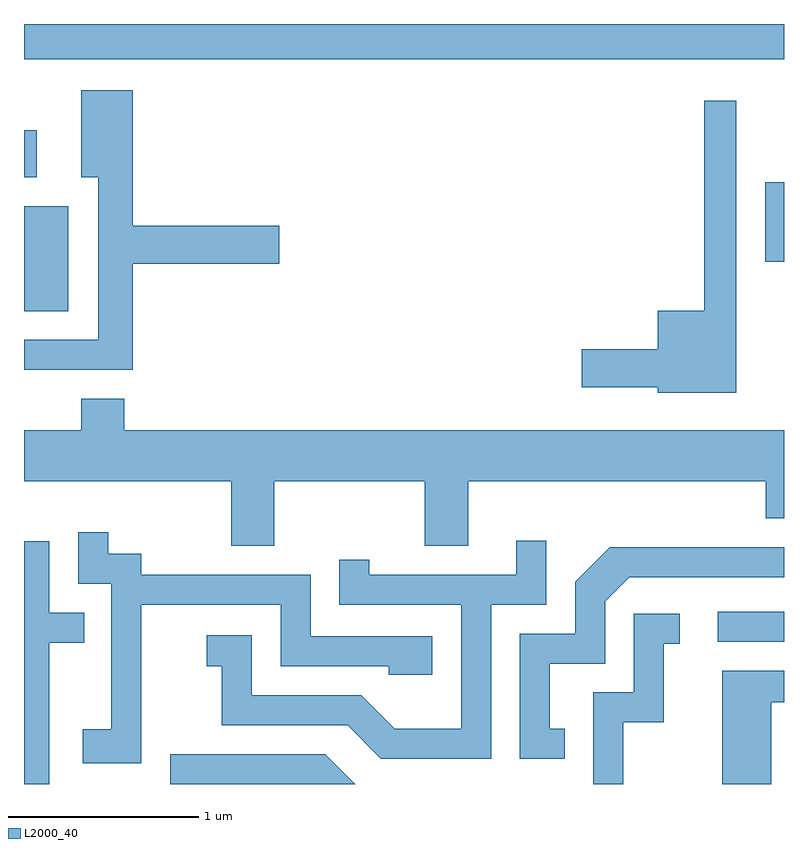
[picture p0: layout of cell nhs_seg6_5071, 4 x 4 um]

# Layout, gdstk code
import gdstk
lib = gdstk.Library(unit=1e-6, precision=1e-09)
def R(c, l, rs):  # rectangles x0, y0, x1, y1
    for r in rs: c.add(gdstk.rectangle(r[:2], r[2:], *l))
def P(c, l, *ps):  # polygons
    for p in ps: c.add(gdstk.Polygon(p, *l))
L2000_40 = (2000, 40)

nhs_seg6_5071 = lib.new_cell('nhs_seg6_5071')
R(nhs_seg6_5071, L2000_40, [(343.263,1606.911,343.611,1607.069), (339.611,1608.651,339.844,1609.204), (343.511,1608.911,343.611,1609.329), (339.611,1609.356,339.679,1609.604), (339.611,1609.976,343.611,1610.162)])
P(nhs_seg6_5071, L2000_40, [(340.184,1608.901),(340.954,1608.901),(340.954,1609.099),(340.184,1609.099),(340.184,1609.814),(339.911,1609.814),(339.911,1609.356),(340.001,1609.356),(340.001,1608.499),(339.611,1608.499),(339.611,1608.341),(340.184,1608.341)],
  [(343.359,1609.758),(343.191,1609.758),(343.191,1608.654),(342.946,1608.654),(342.946,1608.449),(342.546,1608.449),(342.546,1608.251),(342.946,1608.251),(342.946,1608.221),(343.359,1608.221)],
  [(340.929,1607.756),(341.721,1607.756),(341.721,1607.416),(341.949,1607.416),(341.949,1607.756),(343.516,1607.756),(343.516,1607.561),(343.611,1607.561),(343.611,1608.024),(340.139,1608.024),(340.139,1608.189),(339.911,1608.189),(339.911,1608.024),(339.611,1608.024),(339.611,1607.756),(340.701,1607.756),(340.701,1607.416),(340.929,1607.416)],
  [(340.229,1607.106),(340.961,1607.106),(340.961,1606.781),(341.531,1606.781),(341.531,1606.736),(341.759,1606.736),(341.759,1606.939),(341.119,1606.939),(341.119,1607.264),(340.229,1607.264),(340.229,1607.374),(340.054,1607.374),(340.054,1607.488),(339.896,1607.488),(339.896,1607.216),(340.071,1607.216),(340.071,1606.449),(339.921,1606.449),(339.921,1606.271),(340.229,1606.271)],
  [(342.069,1607.106),(342.359,1607.106),(342.359,1607.443),(342.201,1607.443),(342.201,1607.264),(341.429,1607.264),(341.429,1607.343),(341.271,1607.343),(341.271,1607.106),(341.911,1607.106),(341.911,1606.454),(341.562,1606.454),(341.387,1606.629),(340.809,1606.629),(340.809,1606.944),(340.573,1606.944),(340.573,1606.781),(340.651,1606.781),(340.651,1606.471),(341.314,1606.471),(341.489,1606.296),(342.069,1606.296)],
  [(339.744,1606.906),(339.928,1606.906),(339.928,1607.064),(339.744,1607.064),(339.744,1607.439),(339.611,1607.439),(339.611,1606.162),(339.744,1606.162)],
  [(342.458,1606.454),(342.379,1606.454),(342.379,1606.796),(342.669,1606.796),(342.669,1607.124),(342.797,1607.251),(343.611,1607.251),(343.611,1607.409),(342.694,1607.409),(342.511,1607.227),(342.511,1606.954),(342.221,1606.954),(342.221,1606.296),(342.458,1606.296)],
  [(342.764,1606.486),(342.979,1606.486),(342.979,1606.901),(343.063,1606.901),(343.063,1607.059),(342.821,1607.059),(342.821,1606.644),(342.606,1606.644),(342.606,1606.162),(342.764,1606.162)],
  [(343.544,1606.591),(343.611,1606.591),(343.611,1606.759),(343.286,1606.759),(343.286,1606.162),(343.544,1606.162)],
  [(341.197,1606.319),(340.381,1606.319),(340.381,1606.162),(341.354,1606.162)])

lib.write_gds('nhs_seg6_5071.gds')
